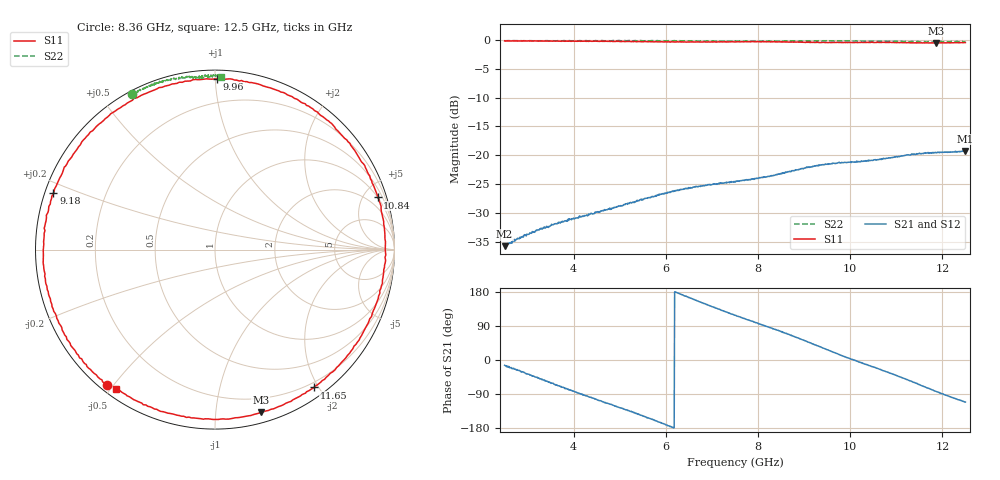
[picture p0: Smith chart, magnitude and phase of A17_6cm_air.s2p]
!Keysight Technologies N9950B: A.12.38
!Date: Monday, 17 April 2023 19:01:11
!Timezone: (UTC-06:00) Central Time (US & Canada)
!Model: N9950B
!Serial: MY61131330
!GPS Latitude:
!GPS Longitude:
!GPS TimeStamp: 0001-01-01 00:00:00Z
!GPS Seconds Since Last Read: 0
!CHECKSUM:1515079166
!Correction: S11(ON U)S21(ON U)S12(ON U)S22(ON U)
!S2P File: Measurements:S11,S21,S12,S22:
# Hz S DB R 50
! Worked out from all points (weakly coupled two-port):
!   1001 points, 2.5 GHz to 12.5 GHz, reference 50 ohm
!   highest |S21| = -19.23 dB at 12.49 GHz (marker M1); lowest = -35.8 dB at 2.5 GHz (marker M2)
!   lowest |S11| = -0.5 dB at 11.87 GHz (marker M3), VSWR 33.39, Z = 4.1 - j65.9 ohm
!   |S11| at or under -10 dB: nowhere
!   |S22| runs from -0.4 to -0.1 dB; largest |S21 - S12| = 0.0021
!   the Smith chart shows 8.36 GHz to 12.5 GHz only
!   S11 on the Smith chart (normalised r, x): 8.36 GHz: 0.02, -0.48; 9.18 GHz: 0.02, +0.17; 9.96 GHz: 0.05, +1.01; 10.84 GHz: 1.01, +6.24; 11.65 GHz: 0.13, -1.94; 12.5 GHz: 0.03, -0.52
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2.5e9  -0.15 1.0  -35.78 -13.9  -35.64 -13.7  -0.12 160.7
2.92e9  -0.15 -34.3  -33.87 -32.9  -34.03 -33.7  -0.13 157.6
3.39e9  -0.17 -74.7  -32.61 -54.6  -32.47 -54.8  -0.11 153.9
4.17e9  -0.22 -140.3  -30.68 -90.4  -30.57 -90.4  -0.14 148.4
4.95e9  -0.25 158.2  -28.94 -123.7  -28.95 -123.3  -0.13 142.8
5.43e9  -0.28 119.7  -27.77 -143.9  -27.84 -144.6  -0.11 139.4
5.84e9  -0.32 84.7  -26.81 -163.4  -26.84 -163.1  -0.13 136.5
6.68e9  -0.33 9.1  -25.46 156.0  -25.48 156.2  -0.18 130.1
7.05e9  -0.29 -23.6  -25.00 138.5  -25.01 138.9  -0.17 127.6
7.5e9  -0.31 -61.2  -24.53 118.4  -24.63 118.3  -0.15 123.9
7.92e9  -0.31 -94.4  -24.04 99.8  -24.16 100.0  -0.21 121.1
8.36e9  -0.30 -128.6  -23.47 81.2  -23.51 81.5  -0.17 118.0
8.8e9  -0.35 -165.1  -22.59 61.3  -22.58 62.0  -0.16 114.6
9.17e9  -0.39 161.9  -22.00 43.1  -21.95 43.9  -0.14 111.9
9.18e9  -0.41 160.8  -21.94 42.7  -21.89 43.3  -0.14 111.9
9.96e9  -0.42 89.3  -21.20 5.2  -21.20 5.0  -0.17 106.6
1.084e10  -0.43 17.8  -20.44 -33.5  -20.43 -33.3  -0.23 100.2
1.123e10  -0.47 -15.9  -19.95 -51.8  -19.92 -51.8  -0.20 97.7
1.165e10  -0.49 -54.3  -19.62 -72.8  -19.53 -72.2  -0.38 94.5
1.187e10  -0.52 -74.3  -19.57 -83.3  -19.46 -83.0  -0.28 93.4
1.249e10  -0.44 -124.7  -19.23 -111.1  -19.31 -110.6  -0.32 88.3
1.25e10  -0.44 -125.3  -19.32 -111.1  -19.28 -111.4  -0.34 88.1
